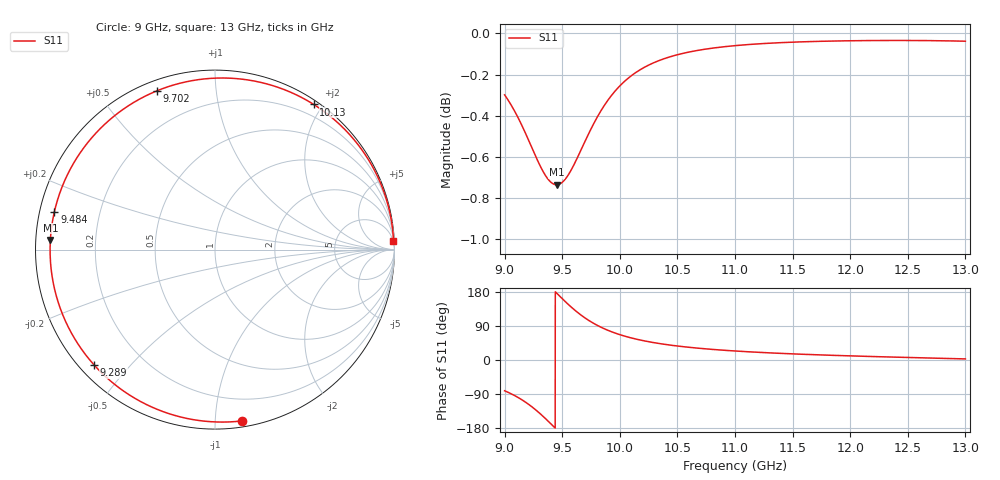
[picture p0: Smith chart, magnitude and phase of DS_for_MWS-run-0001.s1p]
! TOUCHSTONE file generated by CST DESIGN STUDIO
! Date and time: Tue Feb  4 18:20:11 2025
! Project name: C:\Work\MatlabApps\UnitCellOptimizationMatlab\CST\unitcell.cst
! Tree item: Tasks\Sweep1\SPara1\S-Parameters
! Header version: 2024
! Port assignment regex: !\s*Touchstone port\s*([0-9]+)\s*=\s*(CST MWS port|CST DES external port|CST DES block port)\s*(.+)\s* \(\"(.*)\"\)(\s*mode\s*([0-9]+))?.*
! Touchstone port assignment:
! Touchstone port 1 = CST DES external port 1 ("")
# GHz S MA R 50
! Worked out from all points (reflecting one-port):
!   4001 points, 9 GHz to 13 GHz, reference 50 ohm
!   lowest |S11| = -0.7 dB at 9.451 GHz (marker M1), VSWR 23.63, Z = 2.12 + j1.46 ohm
!   phase of S11 starts at -81 deg and turns -276 deg over the sweep
!   S11 on the Smith chart (normalised r, x): 9 GHz: 0.04, -1.17; 9.289 GHz: 0.04, -0.40; 9.484 GHz: 0.04, +0.12; 9.702 GHz: 0.04, +0.70; 10.13 GHz: 0.05, +1.89; 13 GHz: 4, +40
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9  0.9662 -81.2
9.089  0.9572 -94.2
9.161  0.9484 -107.1
9.227  0.9394 -121.2
9.289  0.931 -136.5
9.335  0.9255 -149.0
9.376  0.9217 -160.8
9.414  0.9195 -172.1
9.451  0.9188 176.6
9.484  0.9194 166.7
9.5  0.92 161.9
9.553  0.9239 146.6
9.602  0.9291 133.4
9.651  0.9353 121.4
9.702  0.9419 110.1
9.76  0.9492 99.0
9.825  0.9565 88.2
9.91  0.9644 76.7
10  0.971 66.9
10.133  0.9781 55.7
10.298  0.9838 45.7
10.5  0.9881 36.9
10.723  0.991 30.0
11  0.9932 23.8
11.5  0.9951 16.1
12  0.9959 10.9
12.5  0.9961 6.6
13  0.9956 2.8
